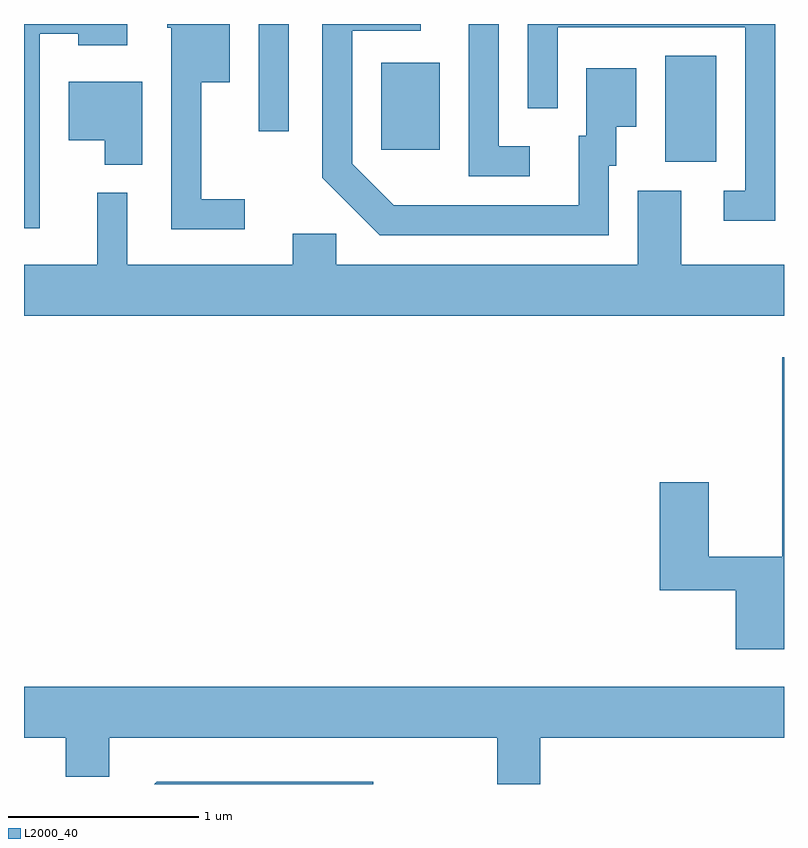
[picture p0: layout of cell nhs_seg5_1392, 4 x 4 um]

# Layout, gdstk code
import gdstk
lib = gdstk.Library(unit=1e-6, precision=1e-09)
def R(c, l, rs):  # rectangles x0, y0, x1, y1
    for r in rs: c.add(gdstk.rectangle(r[:2], r[2:], *l))
def P(c, l, *ps):  # polygons
    for p in ps: c.add(gdstk.Polygon(p, *l))
L2000_40 = (2000, 40)

nhs_seg5_1392 = lib.new_cell('nhs_seg5_1392')
R(nhs_seg5_1392, L2000_40, [(228.986,1495.346,229.254,1495.904), (227.491,1495.411,227.799,1495.869), (226.846,1495.508,227.004,1496.072)])
P(nhs_seg5_1392, L2000_40, [(228.273,1495.429),(228.109,1495.429),(228.109,1496.072),(227.951,1496.072),(227.951,1495.271),(228.273,1495.271)],
  [(225.694,1496.021),(225.896,1496.021),(225.896,1495.961),(226.154,1495.961),(226.154,1496.072),(225.611,1496.072),(225.611,1494.998),(225.694,1494.998)],
  [(226.773,1495.149),(226.544,1495.149),(226.544,1495.766),(226.694,1495.766),(226.694,1496.072),(226.366,1496.072),(226.366,1496.051),(226.386,1496.051),(226.386,1494.991),(226.773,1494.991)],
  [(228.689,1495.326),(228.729,1495.326),(228.729,1495.531),(228.834,1495.531),(228.834,1495.839),(228.571,1495.839),(228.571,1495.484),(228.531,1495.484),(228.531,1495.119),(227.557,1495.119),(227.339,1495.337),(227.339,1496.036),(227.698,1496.036),(227.698,1496.072),(227.181,1496.072),(227.181,1495.264),(227.484,1494.961),(228.689,1494.961)],
  [(229.564,1496.072),(228.261,1496.072),(228.261,1495.628),(228.419,1495.628),(228.419,1496.056),(229.406,1496.056),(229.406,1495.194),(229.293,1495.194),(229.293,1495.036),(229.564,1495.036)],
  [(226.234,1495.769),(225.846,1495.769),(225.846,1495.461),(226.036,1495.461),(226.036,1495.331),(226.234,1495.331)],
  [(229.611,1494.804),(229.069,1494.804),(229.069,1495.194),(228.841,1495.194),(228.841,1494.804),(227.254,1494.804),(227.254,1494.969),(227.026,1494.969),(227.026,1494.804),(226.154,1494.804),(226.154,1495.183),(225.996,1495.183),(225.996,1494.804),(225.611,1494.804),(225.611,1494.536),(229.611,1494.536)],
  [(229.611,1494.318),(229.601,1494.318),(229.601,1493.269),(229.214,1493.269),(229.214,1493.659),(228.956,1493.659),(228.956,1493.091),(229.356,1493.091),(229.356,1492.781),(229.611,1492.781)],
  [(228.329,1492.316),(229.611,1492.316),(229.611,1492.584),(225.611,1492.584),(225.611,1492.316),(225.831,1492.316),(225.831,1492.111),(226.059,1492.111),(226.059,1492.316),(228.101,1492.316),(228.101,1492.072),(228.329,1492.072)],
  [(227.448,1492.084),(226.309,1492.084),(226.297,1492.072),(227.448,1492.072)])

lib.write_gds('nhs_seg5_1392.gds')
